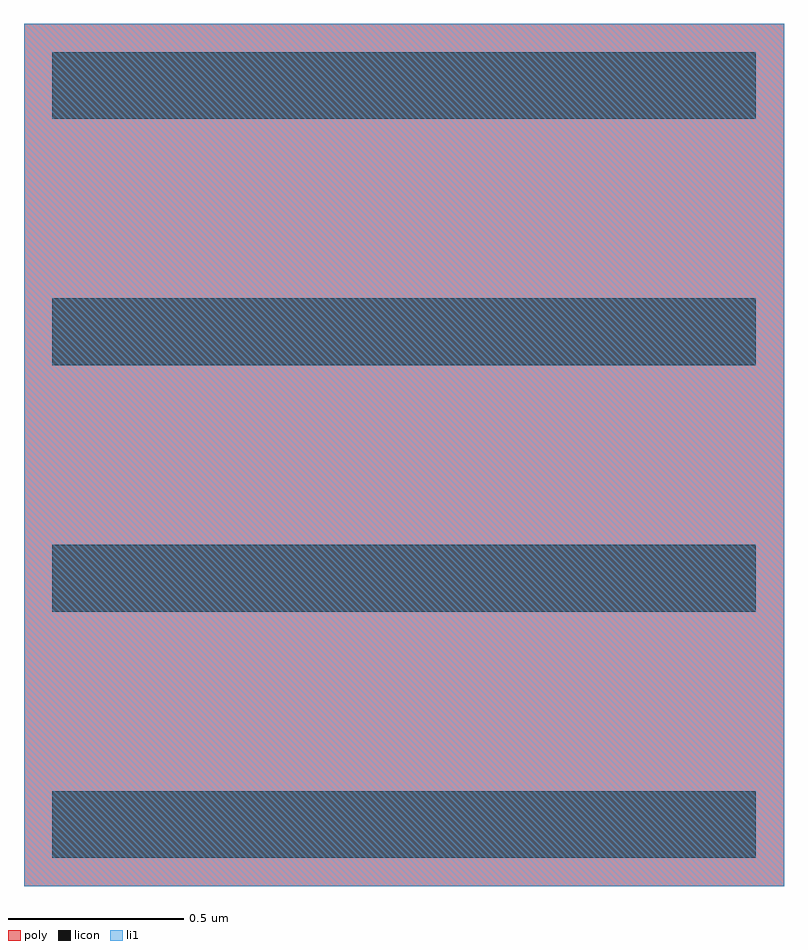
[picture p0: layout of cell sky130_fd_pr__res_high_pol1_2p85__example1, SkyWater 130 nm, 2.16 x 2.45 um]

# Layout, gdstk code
import gdstk
lib = gdstk.Library(unit=1e-6, precision=1e-09)
def R(c, l, rs):  # rectangles x0, y0, x1, y1
    for r in rs: c.add(gdstk.rectangle(r[:2], r[2:], *l))
def A(c, l, x, y, w, h, nx, ny, dx, dy):  # array of equal rectangles
    R(c, l, [(x+i*dx, y+j*dy, x+i*dx+w, y+j*dy+h) for i in range(nx) for j in range(ny)])
poly = (66, 20)
licon = (66, 44)
li1 = (67, 20)

sky130_fd_pr__res_high_p = lib.new_cell('sky130_fd_pr__res_high_pol1_2p85__example1')
R(sky130_fd_pr__res_high_p, poly, [(0,0,2.16,2.45)])
A(sky130_fd_pr__res_high_p, licon, 0.08, 0.08, 2, 0.19, 1, 4, 0, 0.7)
R(sky130_fd_pr__res_high_p, li1, [(0,0,2.16,2.45)])

lib.write_gds('sky130_fd_pr__res_high_pol1_2p85__example1.gds')
